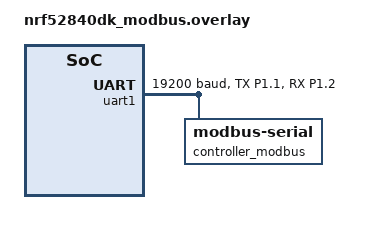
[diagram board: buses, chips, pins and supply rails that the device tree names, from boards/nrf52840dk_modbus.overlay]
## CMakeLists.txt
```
cmake_minimum_required(VERSION 3.28.0)
find_package(Zephyr REQUIRED HINTS $ENV{ZEPHYR_BASE})
project(industrial_controller)

target_include_directories(app PRIVATE include)
target_compile_options(app PRIVATE -Wall -Wextra)
target_sources(app PRIVATE src/main.c src/controller.c src/sensor_signal.c src/protection.c src/controller_app.c src/shell_cli.c src/controller_modbus.c)
if(CONFIG_USE_HW_IO)
    target_sources(app PRIVATE src/io_hw.c src/io_scaling.c)
else()
    target_sources(app PRIVATE src/io_sim.c)
endif()

if(CONFIG_APP_SETTINGS)
    target_sources(app PRIVATE src/controller_settings.c src/settings_codec.c)
endif()

if(CONFIG_APP_MODBUS)
    include(cmake/modbus_frame_handlers.cmake)
endif()
```

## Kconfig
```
mainmenu "Industrial controller"

config USE_HW_IO
    bool "Use hardware ADC inputs"
    select ADC
    default n
    help
      Exclusive ownership of the ADC device is required. Define two
      io-channels in zephyr,user: current loop and voltage input.

config APP_SIMULATED_IO
    bool
    default y if !USE_HW_IO

config APP_SETTINGS
    bool "Controller settings in NVS"
    depends on SETTINGS_NVS
    select CRC
    default n

config APP_WATCHDOG
    bool "Hardware watchdog for the polling thread"
    depends on WATCHDOG
    default n
    help
      Requires an enabled watchdog0 devicetree alias. Feed only after a
      completed polling cycle; crash_test suspends that thread for testing.

config APP_MODBUS
    bool "Controller Modbus RTU server"
    depends on MODBUS_SERIAL && MODBUS_SERVER
    default n

source "Kconfig.zephyr"
```

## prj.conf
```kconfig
CONFIG_PRINTK=y
CONFIG_LOG=y
CONFIG_LOG_MODE_IMMEDIATE=y
CONFIG_THREAD_NAME=y
CONFIG_MAIN_STACK_SIZE=2048
CONFIG_SHELL=y
CONFIG_SHELL_BACKEND_SERIAL=y
CONFIG_SHELL_STACK_SIZE=6144
CONFIG_SHELL_CMD_BUFF_SIZE=128
CONFIG_CONSOLE=y
CONFIG_SERIAL=y
CONFIG_UART_CONSOLE=y
```

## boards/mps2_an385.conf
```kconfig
CONFIG_FLASH=y
CONFIG_FLASH_MAP=y
CONFIG_FLASH_PAGE_LAYOUT=y
CONFIG_SEMIHOST=y
CONFIG_NVS=y
CONFIG_NVS_DATA_CRC=y
CONFIG_SETTINGS=y
CONFIG_SETTINGS_NVS=y
CONFIG_APP_SETTINGS=y
CONFIG_WATCHDOG=y
CONFIG_APP_WATCHDOG=y

CONFIG_LOG_PRINTK=n
```

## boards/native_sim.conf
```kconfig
CONFIG_UART_NATIVE_PTY=y
CONFIG_UART_NATIVE_PTY_0_ON_STDINOUT=y
CONFIG_NATIVE_SIM_SLOWDOWN_TO_REAL_TIME=y
```

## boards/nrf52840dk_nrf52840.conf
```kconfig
CONFIG_USE_HW_IO=y
```

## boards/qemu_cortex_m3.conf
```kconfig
CONFIG_FLASH=y
CONFIG_FLASH_MAP=y
CONFIG_FLASH_PAGE_LAYOUT=y
CONFIG_SEMIHOST=y
CONFIG_NVS=y
CONFIG_NVS_DATA_CRC=y
CONFIG_SETTINGS=y
CONFIG_SETTINGS_NVS=y
CONFIG_APP_SETTINGS=y
CONFIG_MODBUS=y
CONFIG_MODBUS_ROLE_SERVER=y
CONFIG_MODBUS_WORKQUEUE=y
CONFIG_MODBUS_STACK_SIZE=2048
CONFIG_UART_INTERRUPT_DRIVEN=y
CONFIG_APP_MODBUS=y
```

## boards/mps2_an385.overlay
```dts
/* Файловая NVS такая же, как у основной демонстрационной сборки. */
#include "settings_flash.overlay"

&wdog0 {
    status = "okay";
};
```

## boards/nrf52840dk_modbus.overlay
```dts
#include <zephyr/dt-bindings/pinctrl/nrf-pinctrl.h>

&pinctrl {
    controller_uart1_default: controller_uart1_default {
        group1 {
            psels = <NRF_PSEL(UART_TX, 1, 1)>, <NRF_PSEL(UART_RX, 1, 2)>;
        };
    };
    controller_uart1_sleep: controller_uart1_sleep {
        group1 {
            psels = <NRF_PSEL(UART_TX, 1, 1)>, <NRF_PSEL(UART_RX, 1, 2)>;
            low-power-enable;
        };
    };
};

&uart1 {
    status = "okay";
    current-speed = <19200>;
    pinctrl-0 = <&controller_uart1_default>;
    pinctrl-1 = <&controller_uart1_sleep>;
    pinctrl-names = "default", "sleep";
    controller_modbus: modbus {
        compatible = "zephyr,modbus-serial";
        status = "okay";
        /* GPIO управления RS-485 добавляются под выбранный трансивер. */
    };
};
```

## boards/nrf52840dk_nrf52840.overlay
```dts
#include <zephyr/dt-bindings/adc/adc.h>
#include <zephyr/dt-bindings/adc/nrf-saadc.h>

/ {
    zephyr,user {
        io-channels = <&adc 0>, <&adc 1>;
        /* 125 Ом: 4–20 мА -> 500–2500 мВ на AIN0. */
        current-shunt-ohms = <125>;
        /* Делитель 30 кОм / 10 кОм: 0–10 В -> 0–2500 мВ на AIN1. */
        voltage-divider-multiplier = <4>;
    };
};

&adc {
    status = "okay";
    #address-cells = <1>;
    #size-cells = <0>;
    channel@0 {
        reg = <0>;
        zephyr,gain = "ADC_GAIN_1_6";
        zephyr,reference = "ADC_REF_INTERNAL";
        zephyr,acquisition-time = <ADC_ACQ_TIME(ADC_ACQ_TIME_MICROSECONDS, 20)>;
        zephyr,input-positive = <NRF_SAADC_AIN0>;
        zephyr,resolution = <12>;
    };
    channel@1 {
        reg = <1>;
        zephyr,gain = "ADC_GAIN_1_6";
        zephyr,reference = "ADC_REF_INTERNAL";
        zephyr,acquisition-time = <ADC_ACQ_TIME(ADC_ACQ_TIME_MICROSECONDS, 20)>;
        zephyr,input-positive = <NRF_SAADC_AIN1>;
        zephyr,resolution = <12>;
    };
};
```

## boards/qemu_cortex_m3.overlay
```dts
#include "settings_flash.overlay"

/* UART1 в QEMU реализован моделью PL011. Нужна настройка формата RTU. */
&uart1 {
    compatible = "arm,pl011";
    reg = <0x4000d000 0x1000>;
    clock-frequency = <12000000>;
    current-speed = <19200>;
    interrupt-names = "irq";
    status = "okay";
    controller_modbus: modbus {
        compatible = "zephyr,modbus-serial";
        status = "okay";
    };
};
```

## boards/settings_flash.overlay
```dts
#include <mem.h>

/ {
    chosen {
        zephyr,settings-partition = &controller_storage;
    };
    settings_flash_controller {
        compatible = "zephyr,semihost-flash";
        filename = "controller_flash.bin";
        #address-cells = <1>;
        #size-cells = <1>;
        settings_flash: flash@0 {
            compatible = "soc-nv-flash";
            reg = <0 DT_SIZE_K(16)>;
            erase-block-size = <4096>;
            write-block-size = <1>;
            partitions {
                compatible = "fixed-partitions";
                #address-cells = <1>;
                #size-cells = <1>;
                controller_storage: partition@0 {
                    label = "controller-settings";
                    reg = <0 DT_SIZE_K(16)>;
                };
            };
        };
    };
};
```

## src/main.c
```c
#include "controller_app.h"
#include "controller_modbus.h"
#include "controller_watchdog.h"
#include <zephyr/drivers/watchdog.h>
#include <zephyr/sys/atomic.h>
#include <zephyr/kernel.h>
#include <zephyr/logging/log.h>
#include <errno.h>

LOG_MODULE_REGISTER(main, LOG_LEVEL_INF);

#ifdef CONFIG_APP_WATCHDOG
static const struct device *const watchdog = DEVICE_DT_GET(DT_ALIAS(watchdog0));
static int watchdog_channel;
static atomic_t crash_requested;
static atomic_t watchdog_ready;

#define WATCHDOG_TIMEOUT_MS 2000

static int watchdog_init(void)
{
    if (!device_is_ready(watchdog)) return -ENODEV;
    const struct wdt_timeout_cfg timeout = {
        // CMSDK в закреплённой версии Zephyr считает два окна до reset.
        // NMI первого окна не кормит WDT; второе заканчивается аппаратным сбросом.
        .window = { .min = 0, .max = IS_ENABLED(CONFIG_WDOG_CMSDK_APB) ?
                    WATCHDOG_TIMEOUT_MS / 2 : WATCHDOG_TIMEOUT_MS },
        .callback = NULL,
        .flags = WDT_FLAG_RESET_SOC,
    };
    int ret = wdt_install_timeout(watchdog, &timeout);
    if (ret < 0) return ret;
    watchdog_channel = ret;
    // Не приостанавливаем watchdog во время сна потока.
    return wdt_setup(watchdog, 0);
}
#endif

int controller_crash_test(void)
{
#ifdef CONFIG_APP_WATCHDOG
    if (!atomic_get(&watchdog_ready)) return -ENODEV;
    atomic_set(&crash_requested, 1);
    return 0;
#else
    return -ENOTSUP;
#endif
}

// REQ-WDT-01
int main(void)
{
    controller_app_init();
    int ret = controller_app_settings_init();
    if (ret && ret != -ENOENT && ret != -ENOTSUP) {
        LOG_ERR("Settings load failed: %d; using defaults", ret);
    }
#ifdef CONFIG_APP_MODBUS
    ret = controller_modbus_init();
    if (ret) LOG_ERR("Modbus initialization failed: %d", ret);
#endif
#ifdef CONFIG_APP_WATCHDOG
    ret = watchdog_init();
    if (ret) {
        LOG_ERR("Watchdog initialization failed: %d; controller stopped", ret);
        return ret;
    }
    atomic_set(&watchdog_ready, 1);
    printk("Watchdog armed: timeout_ms=2000 reset=SOC\n");
#endif
    while (1) {
#ifdef CONFIG_APP_WATCHDOG
        if (atomic_get(&crash_requested)) {
            LOG_WRN("crash_test: polling thread suspended");
            // Shell продолжает работать, но цикл больше не кормит watchdog.
            k_sleep(K_FOREVER);
        }
#endif
        controller_app_tick();
#ifdef CONFIG_APP_WATCHDOG
        // tick завершает чтение, controller_update и запись выхода.
        ret = wdt_feed(watchdog, watchdog_channel);
        if (ret) {
            LOG_ERR("Watchdog feed failed: %d; waiting for reset", ret);
            k_sleep(K_FOREVER);
        }
#endif
        k_sleep(K_MSEC(CONTROLLER_PERIOD_MS));
    }
    return 0;
}
```

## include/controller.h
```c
#ifndef CONTROLLER_H
#define CONTROLLER_H

#include <stdbool.h>
#include <stddef.h>
#include <stdint.h>
#include <zephyr/kernel.h>

#include "sensor_signal.h"
#include "protection.h"
#define CONTROLLER_PERIOD_MS 100
#define EVENT_CAPACITY 32
#define MOTOR_MAX_CURRENT_MA 640000
#define CONTROLLER_INTEGRAL_LIMIT (100000LL * CONTROLLER_PERIOD_MS)

enum controller_state { STATE_STOPPED, STATE_READY, STATE_RUNNING, STATE_FAULT };
enum event_type { EVENT_READY, EVENT_START, EVENT_STOP, EVENT_FAULT,
                  EVENT_FAULT_CLEARED, EVENT_RESET, EVENT_INPUT_CHANGED,
                  EVENT_WARNING, EVENT_WARNING_CLEARED, EVENT_PROTECTION_CHANGED, EVENT_SETTINGS_LOADED, EVENT_MOTOR_CHANGED };

struct pid_config {
    int bias_x100;
    int kp;
    int ki;
    int divisor;
};

enum motor_type { MOTOR_INDUCTION, MOTOR_PMSM, MOTOR_SYNRM };

struct motor_parameters {
    int nominal_voltage_v;
    int nominal_current_ma;
    int nominal_frequency_x100;
    int nominal_speed_rpm;
    int pole_pairs;
    enum motor_type type;
};

struct controller_config {
    enum controller_profile profile;
    enum input_mode mode;
    struct pid_config pid;
    struct motor_parameters motor;
};

struct motor_data {
    uint32_t pole_pairs_calc;
    uint32_t sync_speed_rpm;
    int32_t slip_x1000;
    uint32_t max_freq_hz_x100;
};

struct controller_parameters {
    struct controller_config config;
    struct protection_config protections[PROTECTION_COUNT];
};

enum motor_feedback_channel { MOTOR_FEEDBACK_CURRENT, MOTOR_FEEDBACK_FREQUENCY };
struct motor_feedback {
    int current_ma;
    int frequency_x100;
    bool valid;
    bool available;
};

struct sensor_sample {
    struct motor_feedback motor;
    int read_error;
    int current_ua;
    int voltage_mv;
    int scaled_x10;
    int measured_x10;
    int setpoint_x10;
};

struct controller_event {
    struct motor_feedback motor;
    int motor_nominal_current_ma;
    int motor_nominal_frequency_x100;
    uint32_t sequence;
    enum controller_profile profile;
    enum input_mode mode;
    bool signal_valid;
    int64_t timestamp_ms;
    enum event_type type;
    enum controller_state state;
    uint32_t faults;
    uint32_t warnings;
    int current_ua;
    int frequency_x100;
    int voltage_mv;
    int measured_x10;
};

struct controller {
    struct k_mutex mutex;
    struct controller_config config;
    enum controller_state state;
    struct motor_data motor;
    struct sensor_sample sample;
    bool sample_valid;
    struct signal_filter signal_filter;
    struct protection_config protections[PROTECTION_COUNT];
    struct protection_state protection_states[PROTECTION_COUNT];
    struct protection_limit motor_protections[MOTOR_PROTECTION_COUNT];
    struct protection_state motor_protection_states[MOTOR_PROTECTION_COUNT];
    struct protection_state motor_stall_state;
    bool motor_feedback_seen;
    bool motor_feedback_valid;
    uint32_t active_warnings;
    uint32_t sensor_faults;
    uint32_t process_faults;
    uint32_t active_faults;
    uint32_t latched_faults;
    int frequency_x100;
    int64_t integral;
    int64_t last_update_ms;
    struct controller_event events[EVENT_CAPACITY];
    size_t event_head;
    size_t event_count;
    uint32_t event_sequence;
};

// Оценка по паспортным данным: 1–500 Гц, 50–30000 об/мин, 1–100 пар.
// За пределами этих диапазонов возвращает 0.
uint32_t calculate_pole_pairs(uint32_t nominal_freq_x100, uint32_t nominal_speed_rpm);
int calculate_sync_speed_and_slip(struct controller *ctrl);

// Инициализация до запуска потоков. Остальные операции с контроллером — не из ISR.
int controller_motor_configure(struct controller *ctrl, struct motor_parameters motor, int64_t now_ms);
int controller_motor_validate(const struct motor_parameters *motor);
struct motor_parameters controller_motor_defaults(void);
void controller_init(struct controller *ctrl);
void controller_update(struct controller *ctrl, const struct sensor_sample *sample,
                       int64_t now_ms);
int controller_start(struct controller *ctrl, int64_t now_ms);
void controller_stop(struct controller *ctrl, int64_t now_ms);
int controller_reset(struct controller *ctrl, int64_t now_ms);
int controller_configure(struct controller *ctrl, struct controller_config config,
                         int64_t now_ms);
int controller_protection_configure(struct controller *ctrl, enum protection_id id,
                                    struct protection_config config, int64_t now_ms);
int controller_parameters_validate(const struct controller_parameters *parameters);
void controller_parameters_get(struct controller *ctrl, struct controller_parameters *parameters);
int controller_parameters_apply(struct controller *ctrl,
                                const struct controller_parameters *parameters, int64_t now_ms);
bool controller_event_get(struct controller *ctrl, size_t index,
                          struct controller_event *event);
void controller_events_clear(struct controller *ctrl);
void controller_record_config_fault(struct controller *ctrl, int64_t now_ms);
const char *controller_state_name(enum controller_state state);
const char *controller_event_name(enum event_type type);

#endif
```

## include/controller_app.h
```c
#ifndef CONTROLLER_APP_H
#define CONTROLLER_APP_H

#include "controller.h"

struct controller_status {
    enum controller_state state;
    struct controller_config config;
    struct motor_data motor;
    struct sensor_sample sample;
    struct protection_config protections[PROTECTION_COUNT];
    struct protection_limit motor_protections[MOTOR_PROTECTION_COUNT];
    bool motor_feedback_valid;
    bool motor_stall_pending;
    bool motor_current_injected;
    bool motor_frequency_injected;
    uint32_t active_warnings;
    uint32_t sensor_faults;
    uint32_t process_faults;
    uint32_t active_faults;
    uint32_t latched_faults;
    int frequency_x100;
    int output_x100;
    bool signal_valid;
    unsigned int filter_count;
    bool signal_injected;
    bool wire_break_injected;
    int injected_value;
    bool settings_ready;
    bool settings_present;
    int settings_error;
};

int controller_app_settings_init(void);
int controller_app_settings_save(void);
int controller_app_settings_load(void);
int controller_app_settings_erase(void);
void controller_app_init(void);
void controller_app_tick(void);
int controller_app_start(void);
int controller_app_setpoint_set(int setpoint_x10);
int controller_app_motor_data_configure(unsigned int first, const uint16_t *values, size_t count);
int controller_app_motor_save(unsigned int field, int value);
int controller_app_motor_configure(unsigned int first, const uint16_t *values, size_t count);
void controller_app_stop(void);
int controller_app_reset(void);
int controller_app_configure(struct controller_config config);
int controller_app_protection_configure(enum protection_id id, struct protection_config config);
int controller_app_inject_motor(enum motor_feedback_channel channel, bool enabled, int value);
int controller_app_inject(bool enabled);
int controller_app_inject_signal(bool enabled, int value);
void controller_app_status(struct controller_status *status);
void controller_app_events_clear(void);
size_t controller_app_events(struct controller_event *events, size_t capacity);

#endif
```

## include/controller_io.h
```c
#ifndef CONTROLLER_IO_H
#define CONTROLLER_IO_H

#include "controller.h"

// Чтение — только из потока. 0 — исправный вход; -EIO — сбой или диапазон,
// -ETIMEDOUT — ADC не завершил преобразование, -ENOTSUP — неподдерживаемый режим.
// При сбое получения отсчёта sample->read_error != 0. При ошибке диапазона
// физическое значение сохраняется, чтобы защиты различали обрыв и перегрузку.
int controller_io_read(const struct controller_config *config, struct sensor_sample *sample);
void controller_io_write(int frequency_x100);
int controller_io_inject_wire_break(bool enabled);
int controller_io_inject_signal(bool enabled, int value);
int controller_io_output(void);
int controller_io_inject_motor(enum motor_feedback_channel channel, bool enabled, int value);

#endif
```

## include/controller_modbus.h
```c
#ifndef CONTROLLER_MODBUS_H
#define CONTROLLER_MODBUS_H

#include "controller.h"
#include <stdint.h>
#include <stddef.h>
// Размер прежнего блока состояния 0–4; моторный блок имеет отдельные адреса.
#define CONTROLLER_MODBUS_REGISTER_COUNT 5
#define CONTROLLER_MODBUS_MOTOR_FIRST 10
#define CONTROLLER_MODBUS_MOTOR_COUNT 5
#define CONTROLLER_MODBUS_MOTOR_DATA_FIRST 40
#define CONTROLLER_MODBUS_MOTOR_DATA_COUNT 8
#define CONTROLLER_MODBUS_MOTOR_DATA_WRITABLE 4

struct modbus_snapshot {
    uint16_t state;
    uint16_t faults;
    uint16_t warnings;
    int16_t measured_x10;
    int16_t setpoint_x10;
    struct motor_parameters motor;
    struct motor_data motor_data;
};

uint8_t controller_modbus_fc03(const uint8_t *request, size_t size,
                               uint8_t *response, size_t capacity, size_t *length);
uint8_t controller_modbus_fc16(const uint8_t *request, size_t size,
                               uint8_t *response, size_t capacity, size_t *length);
int controller_modbus_init(void);
int controller_modbus_error(void);
void controller_modbus_snapshot(uint16_t regs[CONTROLLER_MODBUS_REGISTER_COUNT]);
int controller_modbus_register_read(uint16_t address, uint16_t *value);
int controller_modbus_register_write(uint16_t address, uint16_t value);

#endif
```

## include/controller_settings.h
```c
#ifndef CONTROLLER_SETTINGS_H
#define CONTROLLER_SETTINGS_H

#include "controller.h"

#define CONTROLLER_SETTINGS_LEGACY_SIZE 100
#define CONTROLLER_SETTINGS_V2_SIZE 120
#define CONTROLLER_SETTINGS_SIZE 124

int controller_settings_encode(const struct controller_parameters *parameters,
                                uint8_t data[CONTROLLER_SETTINGS_SIZE]);
int controller_settings_decode(const uint8_t *data, size_t size,
                                struct controller_parameters *parameters);
int controller_settings_init(void);
int controller_settings_read(struct controller_parameters *parameters);
int controller_settings_write(const struct controller_parameters *parameters);
int controller_settings_erase(void);

#endif
```

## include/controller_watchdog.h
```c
#ifndef CONTROLLER_WATCHDOG_H
#define CONTROLLER_WATCHDOG_H

/* Вызывается из Shell; зависание выполняет сам поток опроса. */
int controller_crash_test(void);

#endif
```

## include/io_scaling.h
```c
#ifndef IO_SCALING_H
#define IO_SCALING_H

#include "controller.h"

int controller_adc_scale(enum input_mode mode, int millivolts, int shunt_ohms,
                         int voltage_multiplier, struct sensor_sample *sample);

#endif
```

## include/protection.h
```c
#ifndef PROTECTION_H
#define PROTECTION_H

#include <stdbool.h>
#include <stdint.h>

#define WARNING_LOW (1U << 0)
#define WARNING_HIGH (1U << 1)
#define FAULT_PROCESS_LOW (1U << 2)
#define FAULT_PROCESS_HIGH (1U << 3)
#define WARNING_MOTOR_CURRENT (1U << 2)
#define WARNING_MOTOR_FREQUENCY (1U << 3)
#define FAULT_MOTOR_OVERCURRENT (1U << 5)
#define FAULT_MOTOR_OVERFREQUENCY (1U << 6)
#define FAULT_MOTOR_FEEDBACK (1U << 7)
#define FAULT_CONFIG_ERROR (1U << 8)
#define FAULT_MOTOR_STALL (1U << 9)
#define MOTOR_STALL_TIME_MS 500
#define MOTOR_STALL_FREQUENCY_X100 500
#define MOTOR_WARNING_MASK (WARNING_MOTOR_CURRENT | WARNING_MOTOR_FREQUENCY)

enum protection_id { PROTECTION_LOW_WARNING, PROTECTION_HIGH_WARNING,
                     PROTECTION_LOW_TRIP, PROTECTION_HIGH_TRIP, PROTECTION_COUNT };

struct protection_config {
    int threshold_x10;
    int hysteresis_x10;
    int delay_ms;
    bool enabled;
};

enum motor_protection_id { MOTOR_CURRENT_WARNING, MOTOR_CURRENT_TRIP,
                           MOTOR_FREQUENCY_WARNING, MOTOR_FREQUENCY_TRIP,
                           MOTOR_PROTECTION_COUNT };

// Единицы порога и гистерезиса совпадают с единицами контролируемого значения.
struct protection_limit {
    int threshold;
    int hysteresis;
    int delay_ms;
    bool enabled;
};

struct protection_state {
    bool pending;
    bool active;
    int64_t pending_since_ms;
};

bool protection_update_limit(struct protection_state *state, const struct protection_limit *config,
                             bool low_limit, int value, int64_t now_ms);
bool protection_update(struct protection_state *state, const struct protection_config *config,
                       bool low_limit, int value_x10, int64_t now_ms);
const char *protection_name(enum protection_id id);

#endif
```

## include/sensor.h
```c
#ifndef SENSOR_H
#define SENSOR_H

#include <zephyr/kernel.h>

#define PROFILE_PUMP 0
#define PROFILE_AHU  1

// НОВОЕ: Режимы аналогового входа
#define INPUT_4_20MA 0
#define INPUT_0_10V  1

// Убрал дефайн, теперь профиль можно менять прям в терминале
extern volatile int current_profile; 
// Добавил режим входа, чтобы переключать ток/напряжение
extern volatile int input_mode; 

#define FAULT_NONE            0
#define FAULT_WIRE_BREAK      (1 << 0) 
#define FAULT_OVERLOAD        (1 << 1) 
#define FAULT_DRY_RUN         (1 << 2) 
#define FAULT_FREEZE_AIR      (1 << 3) 
#define FAULT_FILTER_DIRTY    (1 << 4) 
#define FAULT_FAN_FAIL        (1 << 5) 
#define FAULT_FREEZE_WATER    (1 << 6) 

struct sensor_data {
    int freq_hz_x100;        
    int setpoint_x10;        
    int motor_current_ma;    
    uint32_t faults;         

    // Насос
    int current_ua;          // Ток в мкА (если 4-20мА)
    int level_percent_x10;   

    // Приточка (AHU)
    int temp_supply_x10;     
    int temp_outdoor_x10;    
    int temp_return_water_x10; 
    int filter_dp_pa;        

    // НОВОЕ: Напряжение в мВ (если 0-10В)
    int voltage_mv;          

    // Флаг, чтобы ПИД сбрасывался при смене профиля/режима
    bool profile_changed; 
};

extern struct k_msgq sensor_msgq;
extern struct k_msgq monitor_msgq;
extern struct k_msgq modbus_tx_msgq;

struct pid_state {
    int integral;
    int prev_error;
    int current_freq;
};

void alert_isr(const void *arg);

#endif
```

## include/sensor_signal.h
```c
#ifndef SENSOR_SIGNAL_H
#define SENSOR_SIGNAL_H

#include <stdbool.h>
#include <stdint.h>

#define FAULT_NONE 0U
#define FAULT_WIRE_BREAK (1U << 0)
#define FAULT_INPUT_RANGE (1U << 1)
#define FAULT_INPUT_IO (1U << 4)
#define SIGNAL_FILTER_SIZE 4

enum controller_profile { PROFILE_PUMP, PROFILE_AHU };
enum input_mode { INPUT_4_20MA, INPUT_0_10V };

struct signal_filter {
    int samples[SIGNAL_FILTER_SIZE];
    int64_t sum;
    unsigned int count;
    unsigned int next;
};

struct signal_value {
    int scaled_x10;
    int filtered_x10;
    uint32_t faults;
};

void sensor_signal_reset(struct signal_filter *filter);
struct signal_value sensor_signal_process(struct signal_filter *filter,
                                         enum controller_profile profile,
                                         enum input_mode mode,
                                         int current_ua, int voltage_mv);

#endif
```

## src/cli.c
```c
#include "sensor.h"
#include <zephyr/kernel.h>
#include <zephyr/logging/log.h>
#include <sys/select.h>
#include <unistd.h>

LOG_MODULE_REGISTER(cli, LOG_LEVEL_INF);

static void cli_thread(void)
{
    LOG_INF("=====================================");
    LOG_INF("Нажми '1' + Enter для профиля НАСОС");
    LOG_INF("Нажми '2' + Enter для профиля ПРИТОЧКА (AHU)");
    LOG_INF("Нажми '3' + Enter для входа 4-20мА");
    LOG_INF("Нажми '4' + Enter для входа 0-10В");
    LOG_INF("=====================================");

    while (1) {
        fd_set fds;
        struct timeval tv = { .tv_sec = 0, .tv_usec = 100000 };
        
        FD_ZERO(&fds);
        FD_SET(STDIN_FILENO, &fds);
        
        int ret = select(STDIN_FILENO + 1, &fds, NULL, NULL, &tv);
        
        if (ret > 0 && FD_ISSET(STDIN_FILENO, &fds)) {
            char buf[16] = {0};
            int n = read(STDIN_FILENO, buf, sizeof(buf) - 1);
            
            if (n > 0) {
                if (buf[0] == '1') {
                    current_profile = PROFILE_PUMP;
                    LOG_WRN(">>> Переключено на НАСОС <<<");
                } else if (buf[0] == '2') {
                    current_profile = PROFILE_AHU;
                    LOG_WRN(">>> Переключено на ПРИТОЧКА (AHU) <<<");
                } else if (buf[0] == '3') {
                    input_mode = INPUT_4_20MA;
                    LOG_WRN(">>> Режим входа: 4-20мА <<<");
                } else if (buf[0] == '4') {
                    input_mode = INPUT_0_10V;
                    LOG_WRN(">>> Режим входа: 0-10В <<<");
                }
            }
        }
        k_sleep(K_MSEC(10));
    }
}

K_THREAD_DEFINE(cli_tid, 2048, cli_thread, NULL, NULL, NULL, 9, 0, 0);
```

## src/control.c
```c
#include "sensor.h"
#include <zephyr/kernel.h>
#include <zephyr/logging/log.h>

LOG_MODULE_REGISTER(control, LOG_LEVEL_INF);

// Чистая функция ПИД-регулятора. Вынесена отдельно, чтобы её можно было тестировать.
int calculate_pid(struct pid_state *state, int setpoint, int measured, int max_step)
{
    const int Kp = 50; 
    const int Ki = 5;  

    int error = setpoint - measured;
    
    // Anti-windup
    state->integral += error;
    if (state->integral > 100000) state->integral = 100000;
    if (state->integral < -100000) state->integral = -100000;

    int output = ((Kp * error) + (Ki * state->integral)) / 10; 
    int target_freq = 2500 + output; 

    // Ограничиваем частоту 0-50 Гц
    if (target_freq > 5000) target_freq = 5000;
    if (target_freq < 0) target_freq = 0;

    // Логика Soft Start (Ограничение шага)
    int freq_diff = target_freq - state->current_freq;
    if (freq_diff > max_step) {
        state->current_freq += max_step;
    } else if (freq_diff < -max_step) {
        state->current_freq -= max_step;
    } else {
        state->current_freq = target_freq;
    }

    state->prev_error = error;
    return state->current_freq;
}

static void control_thread(void)
{
    struct sensor_data data;
    
    // Инициализируем состояние ПИД-регулятора
    struct pid_state pid = { 
        .integral = 0, 
        .prev_error = 0, 
        .current_freq = 2500 
    };
    const int MAX_FREQ_STEP = 100; 

    while (1) {
        if (k_msgq_get(&sensor_msgq, &data, K_FOREVER) == 0) {
            
            // Сброс ПИДа при смене профиля или режима входа
            if (data.profile_changed) {
                pid.integral = 0;
                pid.prev_error = 0;
            }

            // Обработка аварии
            if (data.faults != FAULT_NONE) {
                int stop_freq = 0;
                k_msgq_put(&modbus_tx_msgq, &stop_freq, K_NO_WAIT); 
                
                pid.integral = 0; 
                pid.prev_error = 0;
                pid.current_freq = 0; // При аварии рубим резко!
                
                data.freq_hz_x100 = 0;
                k_msgq_put(&monitor_msgq, &data, K_NO_WAIT);
                continue; 
            }

            int measured_value = 0;
            if (current_profile == PROFILE_PUMP) {
                measured_value = data.level_percent_x10;
            } else if (current_profile == PROFILE_AHU) {
                measured_value = data.temp_supply_x10;
            }

            // Вызываем нашу вынесенную функцию
            int target_freq = calculate_pid(&pid, data.setpoint_x10, measured_value, MAX_FREQ_STEP);

            // Отправляем частоту в Modbus
            k_msgq_put(&modbus_tx_msgq, &target_freq, K_NO_WAIT);
            
            // Обновляем данные для монитора
            data.freq_hz_x100 = target_freq;
            k_msgq_put(&monitor_msgq, &data, K_NO_WAIT);
        }
    }
}

K_THREAD_DEFINE(control_tid, 2048, control_thread, NULL, NULL, NULL, 6, 0, 0);
```
